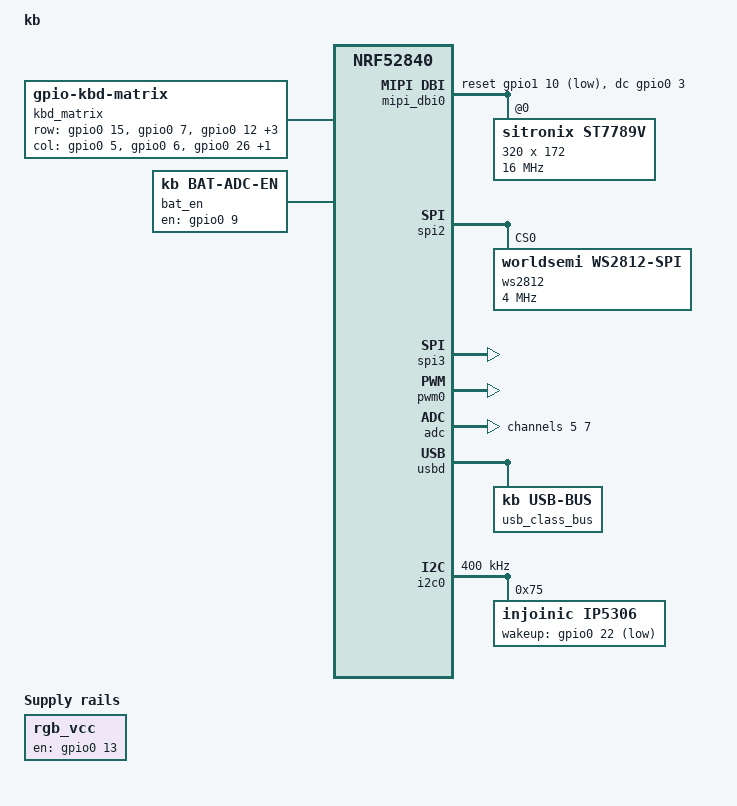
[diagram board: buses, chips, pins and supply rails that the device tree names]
/dts-v1/;
#include <nordic/nrf52840_qiaa.dtsi>
#include "kb-pinctrl.dtsi"

#include <zephyr/dt-bindings/gpio/gpio.h>
#include <zephyr/dt-bindings/input/input-event-codes.h>
#include <zephyr/dt-bindings/input/keymap.h>
#include <zephyr/dt-bindings/led/led.h>
#include <zephyr/dt-bindings/adc/adc.h>
#include <zephyr/dt-bindings/adc/nrf-saadc.h>
#include <zephyr/dt-bindings/i2c/i2c.h>

/ {
	model = "kb";
	compatible = "kb,kb";

	chosen {
		zephyr,sram = &sram0;
		zephyr,flash = &flash0;
		zephyr,code-partition = &slot0_partition;
		/* LCD 显示设备（ST7789V）：应用层经 display API 直接写屏 */
		zephyr,display = &st7789v;
	};

	/*
	 * WS2812 灯带供电开关：RGB_PWR_EN(P0.13) 高电平使能 RGB_VCC。
	 *
	 * 建模为 fixed regulator 的好处：regulator_enable() 会自动处理
	 * startup-delay-us（上电到数据有效的等待），且带引用计数，
	 * 将来低功耗模块也能安全调用。上电默认断电。
	 */
	rgb_vcc: regulator-rgb-vcc {
		compatible = "regulator-fixed";
		regulator-name = "rgb-vcc";
		enable-gpios = <&gpio0 13 GPIO_ACTIVE_HIGH>;
		startup-delay-us = <1000>;
		regulator-boot-off;
	};

	/*
	 * 6 行 x 4 列 按键矩阵（含 EC11 编码器按键）
	 *
	 * 驱动语义（与直觉相反）：列被驱动（输出），行被读取（输入）。
	 * 硬件每键串联 1 只 1N4148W，方向为「列 -> 行」（阴极在行侧），
	 * 因此：行下拉 + 高电平有效，列驱动为高电平有效。
	 * 详见 矩阵按键.txt
	 */
	kbd_matrix: kbd-matrix {
		compatible = "gpio-kbd-matrix";
		status = "okay";

		/* 行 = 输入（被读取）。顺序必须 ROW0 -> ROW5 */
		row-gpios = <&gpio0 15 (GPIO_PULL_DOWN | GPIO_ACTIVE_HIGH)>, /* ROW0 */
			    <&gpio0  7 (GPIO_PULL_DOWN | GPIO_ACTIVE_HIGH)>, /* ROW1 */
			    <&gpio0 12 (GPIO_PULL_DOWN | GPIO_ACTIVE_HIGH)>, /* ROW2 */
			    <&gpio0  4 (GPIO_PULL_DOWN | GPIO_ACTIVE_HIGH)>, /* ROW3 */
			    <&gpio1  9 (GPIO_PULL_DOWN | GPIO_ACTIVE_HIGH)>, /* ROW4 */
			    <&gpio0  8 (GPIO_PULL_DOWN | GPIO_ACTIVE_HIGH)>; /* ROW5 */

		/* 列 = 输出（被驱动）。顺序必须 COL0 -> COL3 */
		col-gpios = <&gpio0  5 GPIO_ACTIVE_HIGH>,  /* COL0 */
			    <&gpio0  6 GPIO_ACTIVE_HIGH>,  /* COL1 */
			    <&gpio0 26 GPIO_ACTIVE_HIGH>,  /* COL2 */
			    <&gpio0 30 GPIO_ACTIVE_HIGH>;  /* COL3 */

		/* 每键都有隔离二极管：未选中列直接驱动为无效电平，无需稳定延时 */
		col-drive-inactive;
		settle-time-us = <0>;

		/* 有隔离二极管 => 物理上不会鬼键，关掉检测以支持任意多键同按 */
		no-ghostkey-check;

		/* 稀疏矩阵掩码，每列一个行位掩码（bit n = ROWn 是否存在）：
		 *   COL0: ROW1,2,3,4,5 -> 0b00111110 = 0x3E
		 *   COL1: ROW1,2,3,4,5 -> 0b00111110 = 0x3E
		 *   COL2: ROW1,2,3,4   -> 0b00011110 = 0x1E
		 *   COL3: ROW0,1,3,5   -> 0b00101011 = 0x2B
		 * 置位总数 18 = 17 个机械轴 + 1 个 EC11 编码器按键
		 */
		actual-key-mask = <0x3E 0x3E 0x1E 0x2B>;

		/* 空闲时行 GPIO 挂中断，按下即唤醒；松手 100ms 后退回中断态 */
		idle-mode = "interrupt";
		poll-period-ms = <5>;
		poll-timeout-ms = <100>;
		debounce-down-ms = <10>;
		debounce-up-ms = <20>;

		/* 行列坐标 -> 标准键值。必须是 kbd-matrix 的子节点 */
		kbd_keymap: keymap {
			compatible = "input-keymap";
			row-size = <6>;
			col-size = <4>;
			keymap = <
				MATRIX_KEY(0, 3, INPUT_KEY_MUTE)
				MATRIX_KEY(1, 0, INPUT_KEY_NUMLOCK)
				MATRIX_KEY(1, 1, INPUT_KEY_KPSLASH)
				MATRIX_KEY(1, 2, INPUT_KEY_KPASTERISK)
				MATRIX_KEY(1, 3, INPUT_KEY_KPMINUS)
				MATRIX_KEY(2, 0, INPUT_KEY_KP7)
				MATRIX_KEY(2, 1, INPUT_KEY_KP8)
				MATRIX_KEY(2, 2, INPUT_KEY_KP9)
				MATRIX_KEY(3, 0, INPUT_KEY_KP4)
				MATRIX_KEY(3, 1, INPUT_KEY_KP5)
				MATRIX_KEY(3, 2, INPUT_KEY_KP6)
				MATRIX_KEY(3, 3, INPUT_KEY_KPPLUS)
				MATRIX_KEY(4, 0, INPUT_KEY_KP1)
				MATRIX_KEY(4, 1, INPUT_KEY_KP2)
				MATRIX_KEY(4, 2, INPUT_KEY_KP3)
				MATRIX_KEY(5, 0, INPUT_KEY_KP0)
				MATRIX_KEY(5, 1, INPUT_KEY_KPDOT)
				MATRIX_KEY(5, 3, INPUT_KEY_KPENTER)
			>;
		};
	};
};

/* SoC dtsi 默认把 GPIO 控制器置为 disabled，这里显式使能。
 * 否则 CONFIG_GPIO_NRFX 不会链接，矩阵驱动找不到 gpio0/gpio1 设备对象。 */
&gpio0 {
	status = "okay";
};

&gpio1 {
	status = "okay";
};

/* GPIO 中断（矩阵 interrupt 空闲模式）依赖 GPIOTE 外设，SoC dtsi 默认 disabled */
&gpiote0 {
	status = "okay";
};

/*
 * 旋钮 A 相用到 P0.10，但 nRF52840 的 P0.9/P0.10 默认（被配置）走 NFC 天线功能，
 * 会被硬件路由到 NFC 外设、恒为低，无法当 GPIO 用。必须把 NFC 脚改回 GPIO。
 * 改后构建产物会带上 UICR.NFCPINS=1 的设置，由烧录工具写入；烧录后做一次
 * 断电/复位即可生效。
 */
&uicr {
	nfct-pins-as-gpios;
};

/*
 * WS2812 灯带（SPI 方式驱动，17 颗）
 *
 * 时序取值 4MHz + one=0x70 / zero=0x40 是本 SDK 内 Nordic 官方板
 * (actinius_icarus_som_dk) 的在树用法：一位 250ns，'1' 高 750ns、
 * '0' 高 250ns，正好落在驱动文档给的「'0' 200~500ns / '1' >=550ns」窗口内。
 *
 * ⚠️ WS2812 是单线协议只用到 MOSI，但 SPIM 外设必须有 SCK 才会出时钟，
 *    所以 pinctrl 里给 SCK 分配了空闲哑引脚 P0.14（对外不接线）。
 * ⚠️ 屏幕 SPI 用 spi3，避开 spi2。
 */
&spi2 {
	compatible = "nordic,nrf-spim";
	status = "okay";
	pinctrl-0 = <&spi2_default>;
	pinctrl-1 = <&spi2_sleep>;
	pinctrl-names = "default", "sleep";

	ws2812: ws2812@0 {
		compatible = "worldsemi,ws2812-spi";
		reg = <0>;                     /* SPI 绑定要求的格式，灯带无片选 */
		spi-max-frequency = <4000000>;
		chain-length = <17>;           /* 18 个键位 - EC11 旋钮按键无灯 */
		spi-one-frame = <0x70>;
		spi-zero-frame = <0x40>;
		color-mapping = <LED_COLOR_ID_GREEN
				 LED_COLOR_ID_RED
				 LED_COLOR_ID_BLUE>;   /* WS2812 线上顺序是 GRB */
		reset-delay = <50>;
	};
};

/*
 * LCD 屏幕（ST7789V，320x172，SPI 只写）挂 SPI3（详见 lcd 显示.txt）
 *   SCK = P1.13 (SCREEN_SCL) / MOSI = P0.28 (SCREEN_SDA)
 *   CS  = P0.02，由 SPI 控制器 cs-gpios 管理（低有效，硬接 LCD 的 CS）
 *   DC  = P0.03 / RES = P1.10 / 背光 BLK = P1.11（PWM0）
 */
&spi3 {
	status = "okay";
	pinctrl-0 = <&spi3_default>;
	pinctrl-1 = <&spi3_sleep>;
	pinctrl-names = "default", "sleep";
	cs-gpios = <&gpio0 2 GPIO_ACTIVE_LOW>;   /* SCREEN_CS：P0.02 */
};

/* LCD 背光：PWM0 OUT0 = P1.11 (SCREEN_BLK)，应用层按亮度百分比调占空比 */
&pwm0 {
	status = "okay";
	pinctrl-0 = <&pwm0_default>;
	pinctrl-1 = <&pwm0_sleep>;
	pinctrl-names = "default", "sleep";
};

/ {
	/* mipi-dbi + ST7789V 显示设备（MIPI-DBI-SPI 走 spi3，详见 lcd 显示.txt）。
	 * 参数参考 SDK shields/st7789v_generic 的 320x170 屏，上板按
	 * lcd 显示.txt【8】标定 x/y-offset 与 mdac。 */
	mipi_dbi0: mipi-dbi {
		compatible = "zephyr,mipi-dbi-spi";
		spi-dev = <&spi3>;
		dc-gpios = <&gpio0 3 GPIO_ACTIVE_HIGH>;      /* SCREEN_DC：P0.03 */
		reset-gpios = <&gpio1 10 GPIO_ACTIVE_LOW>;   /* SCREEN_RES：P1.10 */
		write-only;

		#address-cells = <1>;
		#size-cells = <0>;

		st7789v: st7789v@0 {
			compatible = "sitronix,st7789v";
			reg = <0>;
			mipi-max-frequency = <16000000>;
			width = <320>;
			height = <172>;
			x-offset = <0>;
			y-offset = <35>;      /* 待上板实测微调（见 lcd 显示.txt 8.2） */
			vcom = <0x2b>;
			gctrl = <0x35>;
			vrhs = <0x0f>;
			vdvs = <0x20>;
			mdac = <0xA0>;        /* 实测:0x60 需整体转180°,取反 MY|MX=0xA0 后文字正立(0xE0 会整幅左右镜像,勿用) */
			gamma = <0x01>;
			colmod = <0x55>;      /* 16bit 65K */
			lcm = <0x2c>;
			porch-param = [0c 0c 00 33 33];
			cmd2en-param = [5a 69 02 01];
			pwctrl1-param = [52 a1];
			pvgam-param = [D0 00 02 07 0B 1A 31 54 40 29 12 12 12 17];
			nvgam-param = [D0 00 02 07 05 15 2D 44 44 1C 18 16 1C 1D];
			ram-param = [00 F8];
			rgb-param = [CD 08 14];
			mipi-mode = "MIPI_DBI_MODE_SPI_4WIRE";
		};
	};
};

/*
 * 三模开关检测：MODE(P0.29) = SAADC AIN5，单端。
 *
 * 量程：内部 0.6V 参考 ÷ 增益 1/6 = 3.6V，覆盖 BLE 档的 3.3V 且留 300mV 余量。
 * 不用 VDD/4 参考：VDD 会随电池从 4.2V 掉到 3.3V，参考本身会漂。
 *
 * ⚠️ 通道子节点【必须命名为 channel】，否则 Zephyr 的 ADC API 宏取不到数据
 *    （adc-controller.yaml 的 child-binding 要求）。
 * ⚠️ input-positive 必须用 DT 头文件的 <NRF_SAADC_AIN5>（值为 5）。
 *    nRF HAL 里的 NRF_SAADC_INPUT_AIN5 是 6（HAL 中 0 表示断开，AIN0 从 1 起），
 *    两者差 1。若误写 6 会采到 AIN6 = P0.30 = COL3，现象是模式读数乱跳。
 *    只写 input-positive（不写 input-negative）即为 Zephyr 单端模式，
 *    负值由驱动钳到 0，不会触发驱动内部的 /2 修正。
 */
&adc {
	status = "okay";
	#address-cells = <1>;
	#size-cells = <0>;

	channel@5 {
		reg = <5>;
		zephyr,input-positive = <NRF_SAADC_AIN5>;   /* P0.29 = MODE */
		zephyr,reference = "ADC_REF_INTERNAL";      /* 内部 0.6V */
		zephyr,gain = "ADC_GAIN_1_6";               /* 满量程 3.6V */
		zephyr,acquisition-time = <ADC_ACQ_TIME(ADC_ACQ_TIME_MICROSECONDS, 10)>;
		zephyr,resolution = <12>;
	};

	/*
	 * 电池电压采样：BAT_ADC(P0.31) = AIN7（详见 电池电压测量.txt）
	 * 电路：VBAT → R6(100k) → 节点(C29 100nF) → R8(100k) → Q1(NMOS) → GND
	 * 节点电压 = VBAT/2（1.5~2.1V），满量程 3.6V 覆盖。
	 * ⚠️ acquisition-time 40µs：分压源阻抗 ≈50kΩ 较高，采样窗口需加长。
	 */
	channel@7 {
		reg = <7>;
		zephyr,input-positive = <NRF_SAADC_AIN7>;   /* P0.31 = BAT_ADC */
		zephyr,reference = "ADC_REF_INTERNAL";      /* 内部 0.6V */
		zephyr,gain = "ADC_GAIN_1_6";               /* 满量程 3.6V */
		zephyr,acquisition-time = <ADC_ACQ_TIME(ADC_ACQ_TIME_MICROSECONDS, 40)>;
		zephyr,resolution = <12>;
	};
};

/*
 * USB HID（三模开关 USB 档，详见 usb 通信.txt）
 *
 * nRF52840 内置 USB Full-Speed 设备控制器，原理图 D-/D+ 经 R23/R24(0Ω)
 * + USBLC6-2SC6 接入模块脚 29/31。板上无 VBUS 检测引脚，软件直接
 * usbd_enable()，插入 USB 线后由主机枚举。
 * hid_kbd 节点：zephyr,hid-device 绑定；报告描述符由 src/usb/usb_hid.c
 * 调 hid_device_register() 传入（与 BLE 共用 hid_keymap.c 里那份）。
 */
&usbd {
	status = "okay";

	/*
	 * 上位机控制口：CDC-ACM 虚拟串口（与 HID 键盘接口组成复合设备）。
	 * 主机侧 host_cli.py 通过该 COM 口下 AA55 帧 + protobuf 子集协议
	 * （hello/time_sync/theme_rgb，详见 src/usb/usb_host_cdc.c）。
	 *
	 * 为什么包一层 kb,usb-bus：nordic,nrf-usbd 绑定不带 usb bus 定义，
	 * 而 zephyr,cdc-acm-uart 有 on-bus: usb 断言，不能直接挂 &usbd。
	 * 包装节点只提供 bus: usb（绑定 dts/bindings/kb,usb-bus.yaml），
	 * 不映射驱动；CDC 类实例仍由 usb_hid.c 的 usbd_register_all_classes()
	 * 统一登记到同一个 usb_ctx 上下文。
	 */
	usb_class_bus: usb-class-bus {
		compatible = "kb,usb-bus";

		cdc_acm_uart0: cdc-acm-uart0 {
			compatible = "zephyr,cdc-acm-uart";
			label = "CDC0";
			tx-fifo-size = <512>;
			rx-fifo-size = <512>;
		};
	};
};

/ {
	hid_kbd: hid_kbd {
		compatible = "zephyr,hid-device";
		label = "HID0";
		protocol-code = "keyboard";      /* 支持 Boot 协议 */
		/* ⚠️ 以下两个值必须是「线上总包长」（含 Report ID 字节），
		 * 驱动据此分配端点缓冲，缺一个字节都会导致报文被拒：
		 *   IN  = Report ID(1) + 键盘 8 字节 = 9
		 *   OUT = Report ID(1) + LED 1 字节  = 2 */
		in-report-size = <9>;
		in-polling-period-us = <1000>;   /* 1ms 轮询 */
		out-report-size = <2>;           /* NumLock LED 输出报告走 OUT 管道 */
		out-polling-period-us = <1000>;
	};
};

/* IP5306-I2C 电源管理芯片（SDA=P1.00 / SCL=P0.24，板载 10k 上拉） */
&i2c0 {
	status = "okay";
	pinctrl-0 = <&i2c0_default>;
	pinctrl-1 = <&i2c0_sleep>;
	pinctrl-names = "default", "sleep";
	clock-frequency = <I2C_BITRATE_FAST>;   /* 400 kHz */

	ip5306: power-manager@75 {
		compatible = "injoinic,ip5306";
		reg = <0x75>;
		/* KEY 通常低有效（内部上拉，按下=拉低）；待 P08 实测确认极性 */
		wakeup-gpios = <&gpio0 22 GPIO_ACTIVE_LOW>;
		status = "okay";
	};
};

&flash0 {
	partitions {
		compatible = "fixed-partitions";
		#address-cells = <1>;
		#size-cells = <1>;

		boot_partition: partition@0 {
			label = "mcuboot";
			reg = <0x00000000 DT_SIZE_K(48)>;
		};

		slot0_partition: partition@c000 {
			label = "image-0";
			reg = <0x0000c000 DT_SIZE_K(472)>;
		};

		slot1_partition: partition@82000 {
			label = "image-1";
			reg = <0x00082000 DT_SIZE_K(472)>;
		};

		storage_partition: partition@f8000 {
			label = "storage";
			reg = <0x000f8000 DT_SIZE_K(32)>;
		};
	};
};

/* 灯带别名：应用层用 DT_ALIAS(led_strip) 取设备，不硬编码节点路径 */
/ {
	aliases {
		led-strip = &ws2812;
	};

	/* 电池采样 MOS 使能（NMOS 低边，高电平导通；详见 电池电压测量.txt）
	 * 自定义 binding：dts/bindings/kb,bat-adc-en.yaml（phandle-array 必须有
	 * binding 声明，DT 宏才会生成——zephyr_user 无 compatible 走不通） */
	bat_en: bat-adc-en {
		compatible = "kb,bat-adc-en";
		en-gpios = <&gpio0 9 GPIO_ACTIVE_HIGH>;
	};
};
